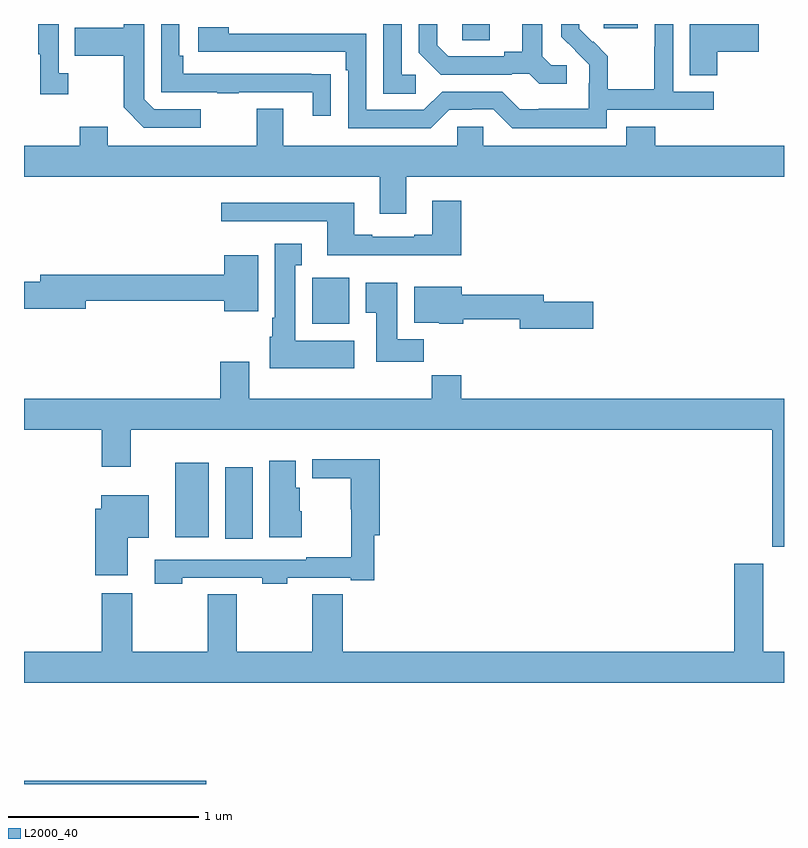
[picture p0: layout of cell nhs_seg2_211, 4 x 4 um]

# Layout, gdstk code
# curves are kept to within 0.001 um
import gdstk
lib = gdstk.Library(unit=1e-6, precision=1e-09)
def R(c, l, rs):  # rectangles x0, y0, x1, y1
    for r in rs: c.add(gdstk.rectangle(r[:2], r[2:], *l))
def P(c, l, *ps):  # polygons
    for p in ps: c.add(gdstk.Polygon(p, *l))
L2000_40 = (2000, 40)

nhs_seg2_211 = lib.new_cell('nhs_seg2_211')
R(nhs_seg2_211, L2000_40, [(121,617.8,121.96,617.816), (122.06,619.092,122.203,619.468), (121.796,619.1,121.972,619.492), (122.516,620.222,122.713,620.464), (123.306,621.715,123.451,621.8), (124.052,621.777,124.231,621.8)])
P(nhs_seg2_211, L2000_40, [(123.061,621.534),(122.988,621.534),(122.988,621.8),(122.892,621.8),(122.892,621.433),(123.061,621.433)],
  [(121.234,621.542),(121.182,621.542),(121.182,621.8),(121.074,621.8),(121.074,621.641),(121.085,621.641),(121.085,621.429),(121.234,621.429)],
  [(122.615,621.536),(122.513,621.536),(122.513,621.537),(121.838,621.537),(121.838,621.634),(121.818,621.634),(121.818,621.8),(121.722,621.8),(121.722,621.441),(122.017,621.441),(122.017,621.436),(122.129,621.436),(122.129,621.441),(122.519,621.441),(122.519,621.318),(122.615,621.318)],
  [(124.649,621.653),(124.867,621.653),(124.867,621.8),(124.505,621.8),(124.505,621.529),(124.649,621.529)],
  [(121.93,621.351),(121.686,621.351),(121.632,621.405),(121.632,621.8),(121.524,621.8),(121.524,621.781),(121.267,621.781),(121.267,621.634),(121.524,621.634),(121.524,621.361),(121.629,621.255),(121.93,621.255)],
  [(124.068,621.348),(124.63,621.348),(124.63,621.444),(124.416,621.444),(124.416,621.8),(124.32,621.8),(124.32,621.68),(124.318,621.68),(124.318,621.457),(124.073,621.457),(124.073,621.631),(123.996,621.708),(123.993,621.705),(123.923,621.776),(123.923,621.8),(123.828,621.8),(123.828,621.734),(123.974,621.586),(123.974,621.489),(123.972,621.489),(123.972,621.355),(123.709,621.355),(123.709,621.351),(123.609,621.351),(123.516,621.444),(123.201,621.444),(123.105,621.348),(122.802,621.348),(122.802,621.75),(122.078,621.75),(122.078,621.784),(121.917,621.784),(121.917,621.654),(122.693,621.654),(122.693,621.557),(122.706,621.557),(122.706,621.252),(123.141,621.252),(123.237,621.348),(123.356,621.348),(123.356,621.351),(123.471,621.351),(123.571,621.251),(124.068,621.251)],
  [(123.856,621.582),(123.774,621.582),(123.727,621.629),(123.727,621.8),(123.623,621.8),(123.623,621.653),(123.527,621.653),(123.527,621.63),(123.232,621.63),(123.175,621.687),(123.175,621.8),(123.078,621.8),(123.078,621.65),(123.194,621.534),(123.566,621.534),(123.566,621.537),(123.66,621.537),(123.712,621.485),(123.856,621.485)],
  [(123.013,620.996),(125,620.996),(125,621.16),(124.322,621.16),(124.322,621.259),(124.169,621.259),(124.169,621.16),(123.417,621.16),(123.417,621.258),(123.279,621.258),(123.279,621.16),(122.365,621.16),(122.365,621.355),(122.225,621.355),(122.225,621.16),(121.441,621.16),(121.441,621.259),(121.294,621.259),(121.294,621.16),(121,621.16),(121,620.996),(122.873,620.996),(122.873,620.802),(123.013,620.802)],
  [(123.302,620.869),(123.149,620.869),(123.149,620.692),(123.053,620.692),(123.053,620.679),(122.833,620.679),(122.833,620.692),(122.737,620.692),(122.737,620.86),(122.037,620.86),(122.037,620.763),(122.597,620.763),(122.597,620.582),(123.302,620.582)],
  [(122.737,620.134),(122.428,620.134),(122.428,620.531),(122.461,620.531),(122.461,620.644),(122.321,620.644),(122.321,620.254),(122.306,620.254),(122.306,620.154),(122.294,620.154),(122.294,619.988),(122.737,619.988)],
  [(122.233,620.584),(122.054,620.584),(122.054,620.48),(121.085,620.48),(121.085,620.444),(121,620.444),(121,620.302),(121.324,620.302),(121.324,620.344),(122.054,620.344),(122.054,620.288),(122.233,620.288)],
  [(123.104,620.14),(122.965,620.14),(122.965,620.437),(122.798,620.437),(122.798,620.281),(122.855,620.281),(122.855,620.022),(123.104,620.022)],
  [(123.997,620.339),(123.736,620.339),(123.736,620.375),(123.304,620.375),(123.304,620.416),(123.053,620.416),(123.053,620.228),(123.186,620.228),(123.186,620.222),(123.312,620.222),(123.312,620.247),(123.608,620.247),(123.608,620.197),(123.997,620.197)],
  [(125,619.828),(123.302,619.828),(123.302,619.952),(123.145,619.952),(123.145,619.828),(122.185,619.828),(122.185,620.023),(122.033,620.023),(122.033,619.828),(121,619.828),(121,619.664),(121.409,619.664),(121.409,619.47),(121.561,619.47),(121.561,619.664),(124.937,619.664),(124.937,619.05),(125,619.05)],
  [(121.833,618.885),(122.253,618.885),(122.253,618.853),(122.385,618.853),(122.385,618.885),(122.72,618.885),(122.72,618.873),(122.843,618.873),(122.843,619.109),(122.873,619.109),(122.873,619.51),(122.517,619.51),(122.517,619.408),(122.72,619.408),(122.72,619.245),(122.722,619.245),(122.722,618.994),(122.485,618.994),(122.485,618.981),(121.689,618.981),(121.689,618.853),(121.833,618.853)],
  [(122.461,619.236),(122.452,619.236),(122.452,619.359),(122.431,619.359),(122.431,619.501),(122.291,619.501),(122.291,619.1),(122.461,619.1)],
  [(121.546,619.097),(121.657,619.097),(121.657,619.321),(121.406,619.321),(121.406,619.248),(121.376,619.248),(121.376,618.9),(121.546,618.9)],
  [(125,618.496),(124.891,618.496),(124.891,618.958),(124.739,618.958),(124.739,618.496),(122.678,618.496),(122.678,618.8),(122.518,618.8),(122.518,618.496),(122.12,618.496),(122.12,618.8),(121.966,618.8),(121.966,618.496),(121.569,618.496),(121.569,618.805),(121.409,618.805),(121.409,618.496),(121,618.496),(121,618.332),(125,618.332)])

lib.write_gds('nhs_seg2_211.gds')
